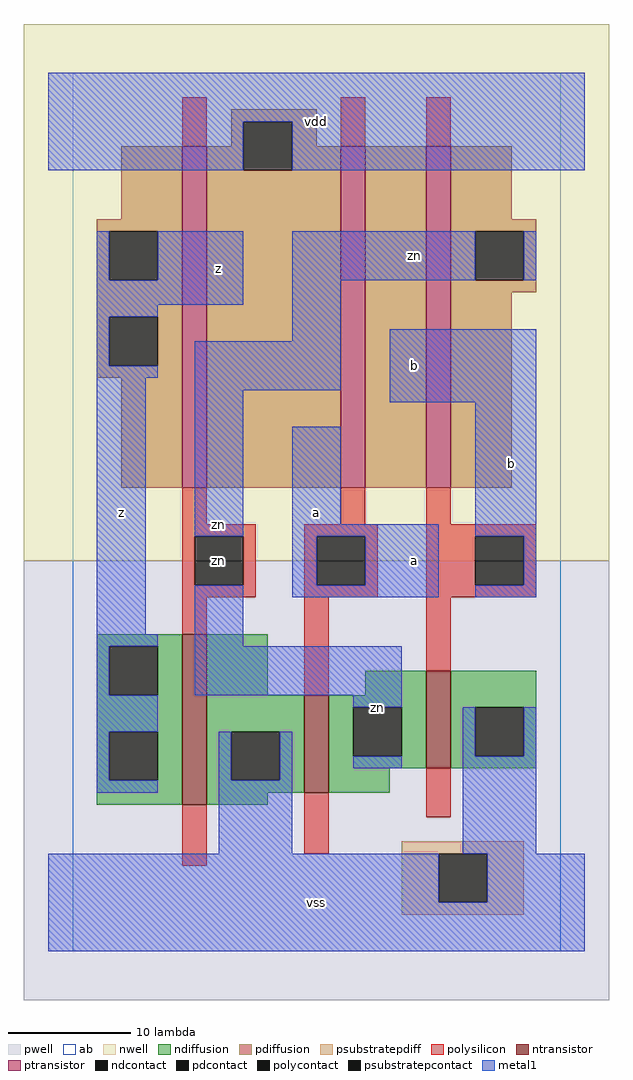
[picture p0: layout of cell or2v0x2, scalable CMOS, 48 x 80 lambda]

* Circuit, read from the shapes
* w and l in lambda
.subckt or2v0x2 a b vdd vss z zn
M1 vss zn z vss nfet w=14 l=2
M2 zn a vss vss nfet w=8 l=2
M3 vss b zn vss nfet w=8 l=2
M4 vdd zn z n1 pfet w=28 l=2
M5 n2 a vdd n1 pfet w=28 l=2
M6 zn b n2 n1 pfet w=28 l=2
.ends

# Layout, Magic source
magic
tech scmos
<< ab >>
rect 0 0 40 72
<< pwell >>
rect -4 -4 44 32
<< nwell >>
rect -4 32 44 76
<< polysilicon >>
rect 9 66 11 70
rect 22 66 24 70
rect 29 66 31 70
rect 9 35 11 38
rect 22 35 24 38
rect 29 35 31 38
rect 9 34 15 35
rect 9 30 10 34
rect 14 30 15 34
rect 9 29 15 30
rect 19 34 25 35
rect 19 30 20 34
rect 24 30 25 34
rect 19 29 25 30
rect 29 34 38 35
rect 29 30 33 34
rect 37 30 38 34
rect 29 29 38 30
rect 9 26 11 29
rect 19 21 21 29
rect 29 23 31 29
rect 9 7 11 12
rect 19 8 21 13
rect 29 11 31 15
<< ndiffusion >>
rect 2 25 9 26
rect 2 21 3 25
rect 7 21 9 25
rect 2 18 9 21
rect 2 14 3 18
rect 7 14 9 18
rect 2 12 9 14
rect 11 21 16 26
rect 24 21 29 23
rect 11 18 19 21
rect 11 14 13 18
rect 17 14 19 18
rect 11 13 19 14
rect 21 20 29 21
rect 21 16 23 20
rect 27 16 29 20
rect 21 15 29 16
rect 31 20 38 23
rect 31 16 33 20
rect 37 16 38 20
rect 31 15 38 16
rect 21 13 26 15
rect 11 12 16 13
<< pdiffusion >>
rect 13 68 20 69
rect 13 66 14 68
rect 4 60 9 66
rect 2 59 9 60
rect 2 55 3 59
rect 7 55 9 59
rect 2 52 9 55
rect 2 48 3 52
rect 7 48 9 52
rect 2 47 9 48
rect 4 38 9 47
rect 11 64 14 66
rect 18 66 20 68
rect 18 64 22 66
rect 11 38 22 64
rect 24 38 29 66
rect 31 60 36 66
rect 31 59 38 60
rect 31 55 33 59
rect 37 55 38 59
rect 31 54 38 55
rect 31 38 36 54
<< metal1 >>
rect -2 68 42 72
rect -2 64 14 68
rect 18 64 42 68
rect 2 55 3 59
rect 7 55 14 59
rect 2 53 14 55
rect 18 55 33 59
rect 37 55 38 59
rect 2 52 7 53
rect 2 48 3 52
rect 18 50 22 55
rect 2 47 7 48
rect 2 26 6 47
rect 10 46 22 50
rect 10 34 14 46
rect 26 45 38 51
rect 2 25 7 26
rect 2 21 3 25
rect 10 25 14 30
rect 18 35 22 43
rect 18 34 30 35
rect 18 30 20 34
rect 24 30 30 34
rect 18 29 30 30
rect 33 34 38 45
rect 37 30 38 34
rect 33 29 38 30
rect 10 21 27 25
rect 2 18 7 21
rect 23 20 27 21
rect 2 14 3 18
rect 2 13 7 14
rect 12 14 13 18
rect 17 14 18 18
rect 23 15 27 16
rect 32 16 33 20
rect 37 16 38 20
rect 12 8 18 14
rect 32 8 38 16
rect -2 4 30 8
rect 34 4 42 8
rect -2 0 42 4
<< ntransistor >>
rect 9 12 11 26
rect 19 13 21 21
rect 29 15 31 23
<< ptransistor >>
rect 9 38 11 66
rect 22 38 24 66
rect 29 38 31 66
<< polycontact >>
rect 10 30 14 34
rect 20 30 24 34
rect 33 30 37 34
<< ndcontact >>
rect 3 21 7 25
rect 3 14 7 18
rect 13 14 17 18
rect 23 16 27 20
rect 33 16 37 20
<< pdcontact >>
rect 3 55 7 59
rect 3 48 7 52
rect 14 64 18 68
rect 33 55 37 59
<< psubstratepcontact >>
rect 30 4 34 8
<< psubstratepdiff >>
rect 27 8 37 9
rect 27 4 30 8
rect 34 4 37 8
rect 27 3 37 4
<< labels >>
rlabel polycontact 12 32 12 32 6 zn
rlabel metal1 4 36 4 36 6 z
rlabel metal1 12 35 12 35 6 zn
rlabel metal1 12 56 12 56 6 z
rlabel metal1 20 4 20 4 6 vss
rlabel metal1 25 20 25 20 6 zn
rlabel metal1 28 32 28 32 6 a
rlabel metal1 20 36 20 36 6 a
rlabel metal1 28 48 28 48 6 b
rlabel metal1 20 68 20 68 6 vdd
rlabel metal1 36 40 36 40 6 b
rlabel metal1 28 57 28 57 6 zn
<< end >>
